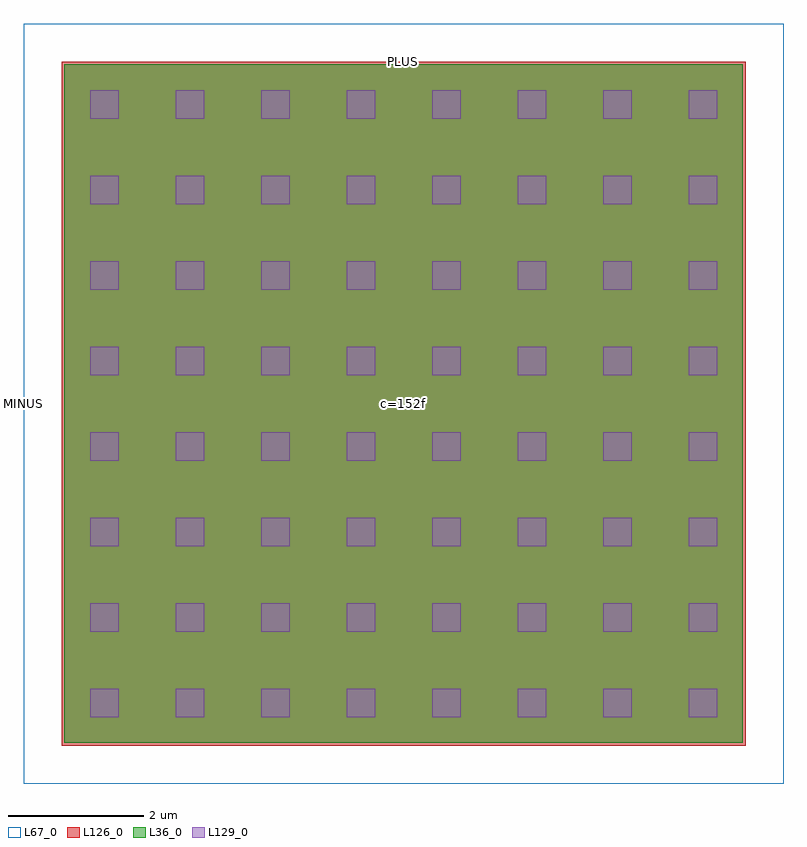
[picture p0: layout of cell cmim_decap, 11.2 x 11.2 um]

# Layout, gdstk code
import gdstk
lib = gdstk.Library(unit=1e-6, precision=1e-09)
def R(c, l, rs):  # rectangles x0, y0, x1, y1
    for r in rs: c.add(gdstk.rectangle(r[:2], r[2:], *l))
def A(c, l, x, y, w, h, nx, ny, dx, dy):  # array of equal rectangles
    R(c, l, [(x+i*dx, y+j*dy, x+i*dx+w, y+j*dy+h) for i in range(nx) for j in range(ny)])
L36_0 = (36, 0)
L67_0 = (67, 0)
L126_0 = (126, 0)
L129_0 = (129, 0)

cmim_decap = lib.new_cell('cmim_decap')
R(cmim_decap, L36_0, [(0,0,10,10)])
R(cmim_decap, L67_0, [(-0.6,-0.6,10.6,10.6)])
R(cmim_decap, L126_0, [(-0.04,-0.04,10.04,10.04)])
A(cmim_decap, L129_0, 0.38, 0.38, 0.42, 0.42, 8, 8, 1.26, 1.26)
cmim_decap.add(gdstk.Label('c=152f', (5,5), layer=63, texttype=0))
cmim_decap.add(gdstk.Label('cmim', (5,5), layer=63, texttype=0))
cmim_decap.add(gdstk.Label('MINUS', (-0.6,5), layer=67, texttype=25))
cmim_decap.add(gdstk.Label('PLUS', (5,10.04), layer=126, texttype=25))

lib.write_gds('cmim_decap.gds')
